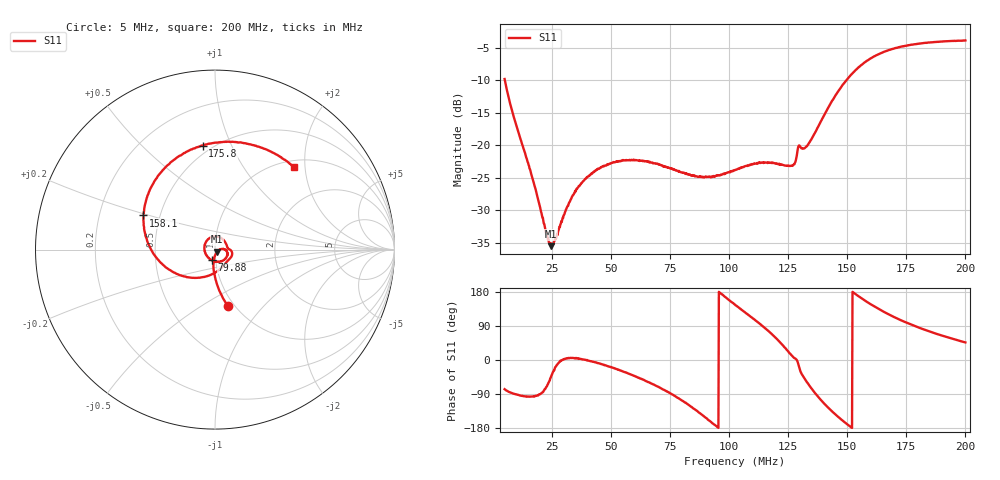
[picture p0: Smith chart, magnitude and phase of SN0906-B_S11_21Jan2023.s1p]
# Hz S DB R 50
! CMT, M5045, 22160017, 22.4.3/2
! Date: 1/21/2023 20:18:10
! Data: Format (Calibration Info)
! Freq	S11:dB/Ang(F1)
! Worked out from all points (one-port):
!   1001 points, 5 MHz to 200 MHz, reference 50 ohm
!   lowest |S11| = -35.5 dB at 24.7 MHz (marker M1), VSWR 1.03, Z = 51.2 - j1.18 ohm
!   |S11| at or under -10 dB: 5.091 MHz to 149.7 MHz (144.6 MHz wide, 187 % of centre)
!   S11 on the Smith chart (normalised r, x): 5 MHz: 0.93, -0.66; 79.88 MHz: 0.96, -0.11; 158.1 MHz: 0.40, +0.19; 175.8 MHz: 0.45, +0.79; 200 MHz: 1.13, +1.75
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5000000  -9.83 -77.0
1.202e7  -19.35 -94.4
1.748e7  -25.99 -96.4
2.294e7  -33.84 -69.0
2.4695e7  -35.48 -43.3
2.645e7  -34.38 -18.6
2.9375e7  -31.42 0.1
3.386e7  -27.66 5.5
3.9125e7  -25.15 0.7
5.375e7  -22.44 -26.9
6.4865e7  -22.47 -55.7
7.8125e7  -23.94 -99.6
7.988e7  -24.16 -106.2
9.1775e7  -24.81 -160.6
1.025e8  -23.82 146.2
1.1576e8  -22.65 81.4
1.26875e8  -23.15 9.4
1.3019e8  -20.26 -30.1
1.337e8  -19.73 -65.2
1.4111e8  -14.81 -120.6
1.45985e8  -11.83 -149.0
1.5125e8  -9.32 -175.6
1.58075e8  -7.09 154.5
1.67045e8  -5.47 122.0
1.75625e8  -4.66 97.2
1.7582e8  -4.67 96.7
1.85765e8  -4.21 73.3
2e8  -3.92 46.4
